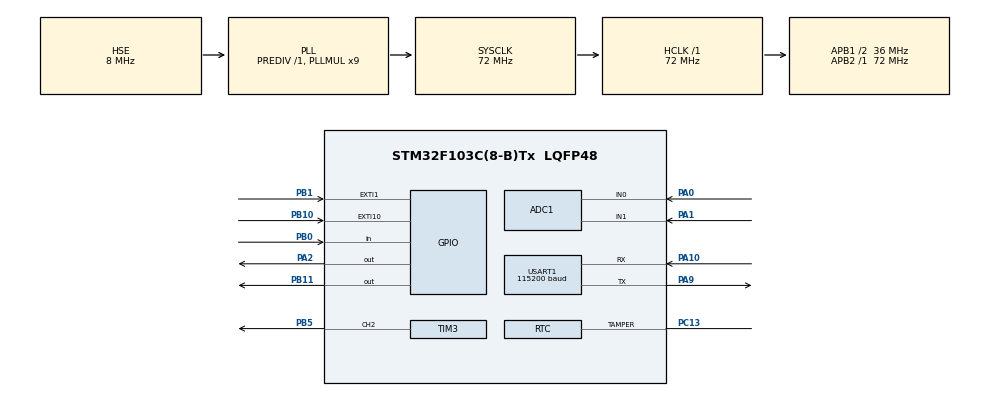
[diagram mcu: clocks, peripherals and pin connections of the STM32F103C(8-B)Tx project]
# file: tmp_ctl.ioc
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ADC1.Channel-2\#ChannelRegularConversion=ADC_CHANNEL_0
ADC1.NbrOfConversionFlag=1
ADC1.Rank-2\#ChannelRegularConversion=1
ADC1.SamplingTime-2\#ChannelRegularConversion=ADC_SAMPLETIME_1CYCLE_5
ADC1.master=1
Dma.Request0=USART1_TX
Dma.Request1=USART1_RX
Dma.USART1_RX.1.Direction=DMA_PERIPH_TO_MEMORY
Dma.USART1_RX.1.Instance=DMA1_Channel5
Dma.USART1_RX.1.MemDataAlignment=DMA_MDATAALIGN_BYTE
Dma.USART1_RX.1.MemInc=DMA_MINC_ENABLE
Dma.USART1_RX.1.Mode=DMA_NORMAL
Dma.USART1_RX.1.PeriphDataAlignment=DMA_PDATAALIGN_BYTE
Dma.USART1_RX.1.PeriphInc=DMA_PINC_DISABLE
Dma.USART1_RX.1.Priority=DMA_PRIORITY_LOW
Dma.USART1_TX.0.Direction=DMA_MEMORY_TO_PERIPH
Dma.USART1_TX.0.Instance=DMA1_Channel4
Dma.USART1_TX.0.MemDataAlignment=DMA_MDATAALIGN_BYTE
Dma.USART1_TX.0.MemInc=DMA_MINC_ENABLE
Dma.USART1_TX.0.Mode=DMA_NORMAL
Dma.USART1_TX.0.PeriphDataAlignment=DMA_PDATAALIGN_BYTE
Dma.USART1_TX.0.PeriphInc=DMA_PINC_DISABLE
Dma.USART1_TX.0.Priority=DMA_PRIORITY_LOW
Mcu.Family=STM32F1
Mcu.Name=STM32F103C(8-B)Tx
Mcu.Package=LQFP48
NVIC.DMA1_Channel4_IRQn=true\:0\:0\:false
NVIC.DMA1_Channel5_IRQn=true\:0\:0\:false
NVIC.PriorityGroup=NVIC_PRIORITYGROUP_4
NVIC.USART1_IRQn=true\:0\:0\:false
PA0-WKUP.Signal=ADCx_IN0
PA1.Signal=ADCx_IN1
PA10.Mode=Asynchronous
PA10.Signal=USART1_RX
PA13.Mode=JTAG_5_pin
PA13.Signal=SYS_JTMS-SWDIO
PA14.Mode=JTAG_5_pin
PA14.Signal=SYS_JTCK-SWCLK
PA15.Mode=JTAG_5_pin
PA15.Signal=SYS_JTDI
PA2.Signal=GPIO_Output
PA9.Mode=Asynchronous
PA9.Signal=USART1_TX
PB0.Signal=GPIO_Input
PB1.Signal=GPXTI1
PB10.Signal=GPXTI10
PB11.Signal=GPIO_Output
PB3.Mode=JTAG_5_pin
PB3.Signal=SYS_JTDO-TRACESWO
PB4.Mode=JTAG_5_pin
PB4.Signal=SYS_NJTRST
PB5.Signal=S_TIM3_CH2
PC13-TAMPER-RTC.Mode=Tamper
PC13-TAMPER-RTC.Signal=RTC_TAMPER
PD0-OSC_IN.Mode=HSE-External-Oscillator
PD0-OSC_IN.Signal=RCC_OSC_IN
PD1-OSC_OUT.Mode=HSE-External-Oscillator
PD1-OSC_OUT.Signal=RCC_OSC_OUT
ProjectManager.HeapSize=0x200
ProjectManager.StackSize=0x400
ProjectManager.TargetToolchain=MDK-ARM V5
RCC.ADCPresc=RCC_ADCPCLK2_DIV8
RCC.AHBFreq_Value=72000000
RCC.APB1CLKDivider=RCC_HCLK_DIV2
RCC.APB1Freq_Value=36000000
RCC.APB1TimFreq_Value=72000000
RCC.APB2Freq_Value=72000000
RCC.APB2TimFreq_Value=72000000
RCC.HCLKFreq_Value=72000000
RCC.HSIState=RCC_HSI_ON
RCC.PLLMUL=RCC_PLL_MUL9
RCC.PLLSourceVirtual=RCC_PLLSOURCE_HSE
RCC.SYSCLKFreq_VALUE=72000000
RCC.SYSCLKSource=RCC_SYSCLKSOURCE_PLLCLK
RCC.TimSys_Div=SYSTICK_CLKSOURCE_HCLK_DIV8
RCC.USBFreq_Value=72000000
SH.ADCx_IN0.0=ADC1_IN0,IN0
SH.ADCx_IN1.0=ADC1_IN1,IN1
SH.S_TIM3_CH2.0=TIM3_CH2,PWM Generation2 CH2
TIM2.Prescaler=71
TIM2.TIM_MasterOutputTrigger=TIM_TRGO_ENABLE
TIM3.Channel-PWM\ Generation2\ CH2=TIM_CHANNEL_2
TIM3.Period=999
TIM3.Prescaler=71
TIM3.Pulse-PWM\ Generation2\ CH2=200
USART1.BaudRate=115200
VP_IWDG_VS_IWDG.Mode=IWDG_Activate
VP_TIM2_VS_ClockSourceINT.Mode=Internal
VP_TIM3_VS_ClockSourceINT.Mode=Internal
board=tmp_ctl

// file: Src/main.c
/**
  ******************************************************************************
  * File Name          : main.c
  * Description        : Main program body
  ******************************************************************************
  *
  * COPYRIGHT(c) 2016 STMicroelectronics
  *
  * Redistribution and use in source and binary forms, with or without modification,
  * are permitted provided that the following conditions are met:
  *   1. Redistributions of source code must retain the above copyright notice,
  *      this list of conditions and the following disclaimer.
  *   2. Redistributions in binary form must reproduce the above copyright notice,
  *      this list of conditions and the following disclaimer in the documentation
  *      and/or other materials provided with the distribution.
  *   3. Neither the name of STMicroelectronics nor the names of its contributors
  *      may be used to endorse or promote products derived from this software
  *      without specific prior written permission.
  *
  * THIS SOFTWARE IS PROVIDED BY THE COPYRIGHT HOLDERS AND CONTRIBUTORS "AS IS"
  * AND ANY EXPRESS OR IMPLIED WARRANTIES, INCLUDING, BUT NOT LIMITED TO, THE
  * IMPLIED WARRANTIES OF MERCHANTABILITY AND FITNESS FOR A PARTICULAR PURPOSE ARE
  * DISCLAIMED. IN NO EVENT SHALL THE COPYRIGHT HOLDER OR CONTRIBUTORS BE LIABLE
  * FOR ANY DIRECT, INDIRECT, INCIDENTAL, SPECIAL, EXEMPLARY, OR CONSEQUENTIAL
  * DAMAGES (INCLUDING, BUT NOT LIMITED TO, PROCUREMENT OF SUBSTITUTE GOODS OR
  * SERVICES; LOSS OF USE, DATA, OR PROFITS; OR BUSINESS INTERRUPTION) HOWEVER
  * CAUSED AND ON ANY THEORY OF LIABILITY, WHETHER IN CONTRACT, STRICT LIABILITY,
  * OR TORT (INCLUDING NEGLIGENCE OR OTHERWISE) ARISING IN ANY WAY OUT OF THE USE
  * OF THIS SOFTWARE, EVEN IF ADVISED OF THE POSSIBILITY OF SUCH DAMAGE.
  *
  ******************************************************************************
  */
#include "stm32f1xx_hal.h"

/* USER CODE BEGIN Includes */
#include "wenyu_tmp_ctl_bsp.h"
#include "tmp_ctl.h"
#include "string.h"
/* USER CODE END Includes */

ADC_HandleTypeDef hadc1;

IWDG_HandleTypeDef hiwdg;

RTC_HandleTypeDef hrtc;

TIM_HandleTypeDef htim2;
TIM_HandleTypeDef htim3;

UART_HandleTypeDef huart1;
DMA_HandleTypeDef hdma_usart1_tx;
DMA_HandleTypeDef hdma_usart1_rx;

/* USER CODE BEGIN PV */
/* Private variables ---------------------------------------------------------*/
uint16_t temp_value;
uint16_t duty_cycle;

uint8_t aTxBuffer[TXBUFFERSIZE];
uint8_t aRxBuffer[RXBUFFERSIZE];

uint8_t Uart1ReadyRead = RESET;
uint8_t Uart1ReadyWrite = SET;

uint8_t Rxbuff[RXBUFFERSIZE * 5];

/* USER CODE END PV */

void SystemClock_Config(void);
static void MX_GPIO_Init(void);
static void MX_DMA_Init(void);
static void MX_ADC1_Init(void);
static void MX_IWDG_Init(void);
static void MX_RTC_Init(void);
static void MX_TIM2_Init(void);
static void MX_TIM3_Init(void);
static void MX_USART1_UART_Init(void);

/* USER CODE BEGIN PFP */
/* Private function prototypes -----------------------------------------------*/
void RxTxProcessing(void);
/* USER CODE END PFP */

int main(void)
{

  /* USER CODE BEGIN 1 */

	uint32_t rxtxtickstart = 0;
  rxtxtickstart = HAL_GetTick();

	uint32_t readtickstart = 0;
  readtickstart = HAL_GetTick();

	uint32_t pidtickstart = 0;
  pidtickstart = HAL_GetTick();

  /* USER CODE END 1 */

  /* MCU Configuration----------------------------------------------------------*/

  /* Reset of all peripherals, Initializes the Flash interface and the Systick. */
  HAL_Init();

  /* Configure the system clock */
  SystemClock_Config();

  /* Initialize all configured peripherals */
  MX_GPIO_Init();
  MX_DMA_Init();
  MX_ADC1_Init();
  MX_IWDG_Init();
  MX_RTC_Init();
  MX_TIM2_Init();
  MX_TIM3_Init();
  MX_USART1_UART_Init();

  /* USER CODE BEGIN 2 */

	weiyu_tmp_ctr.Init();

	HAL_UART_Receive_DMA(&huart1, (uint8_t*)aRxBuffer, RXBUFFERSIZE);
	HAL_IWDG_Start(&hiwdg);

  /* USER CODE END 2 */

  /* Infinite loop */
  while (1)
  {

  /* USER CODE BEGIN 3 */

		if((HAL_GetTick() - rxtxtickstart) > DELAY_200MS)
		{
			rxtxtickstart = HAL_GetTick();
			RxTxProcessing();
		}

		if((HAL_GetTick() - readtickstart) > DELAY_200MS)
		{
			readtickstart = HAL_GetTick();
			weiyu_tmp_ctr.ReadCurrentTemp();
		}

		if((HAL_GetTick() - pidtickstart) > DELAY_200MS)
		{
			pidtickstart = HAL_GetTick();
			duty_cycle = weiyu_tmp_ctr.PID_Algorithm(weiyu_tmp_ctr.GetTemp(),weiyu_tmp_ctr.GetCurrentTemp());
			weiyu_tmp_ctr.PWMOutPut(duty_cycle);
		}

		HAL_IWDG_Refresh(&hiwdg);

  }
  /* USER CODE END 3 */

}

/** System Clock Configuration
*/
void SystemClock_Config(void)
{

  RCC_OscInitTypeDef RCC_OscInitStruct;
  RCC_ClkInitTypeDef RCC_ClkInitStruct;
  RCC_PeriphCLKInitTypeDef PeriphClkInit;

  RCC_OscInitStruct.OscillatorType = RCC_OSCILLATORTYPE_LSI|RCC_OSCILLATORTYPE_HSE;
  RCC_OscInitStruct.HSEState = RCC_HSE_ON;
  RCC_OscInitStruct.HSEPredivValue = RCC_HSE_PREDIV_DIV1;
  RCC_OscInitStruct.LSIState = RCC_LSI_ON;
  RCC_OscInitStruct.PLL.PLLState = RCC_PLL_ON;
  RCC_OscInitStruct.PLL.PLLSource = RCC_PLLSOURCE_HSE;
  RCC_OscInitStruct.PLL.PLLMUL = RCC_PLL_MUL9;
  HAL_RCC_OscConfig(&RCC_OscInitStruct);

  RCC_ClkInitStruct.ClockType = RCC_CLOCKTYPE_SYSCLK|RCC_CLOCKTYPE_PCLK1;
  RCC_ClkInitStruct.SYSCLKSource = RCC_SYSCLKSOURCE_PLLCLK;
  RCC_ClkInitStruct.AHBCLKDivider = RCC_SYSCLK_DIV1;
  RCC_ClkInitStruct.APB1CLKDivider = RCC_HCLK_DIV2;
  RCC_ClkInitStruct.APB2CLKDivider = RCC_HCLK_DIV1;
  HAL_RCC_ClockConfig(&RCC_ClkInitStruct, FLASH_LATENCY_2);

  PeriphClkInit.PeriphClockSelection = RCC_PERIPHCLK_RTC|RCC_PERIPHCLK_ADC;
  PeriphClkInit.RTCClockSelection = RCC_RTCCLKSOURCE_LSI;
  PeriphClkInit.AdcClockSelection = RCC_ADCPCLK2_DIV8;
  HAL_RCCEx_PeriphCLKConfig(&PeriphClkInit);

  HAL_SYSTICK_Config(HAL_RCC_GetHCLKFreq()/8000);

  HAL_SYSTICK_CLKSourceConfig(SYSTICK_CLKSOURCE_HCLK_DIV8);

  /* SysTick_IRQn interrupt configuration */
  HAL_NVIC_SetPriority(SysTick_IRQn, 0, 0);
}

/* ADC1 init function */
void MX_ADC1_Init(void)
{

  ADC_ChannelConfTypeDef sConfig;

    /**Common config
    */
  hadc1.Instance = ADC1;
  hadc1.Init.ScanConvMode = ADC_SCAN_DISABLE;
  hadc1.Init.ContinuousConvMode = DISABLE;
  hadc1.Init.DiscontinuousConvMode = DISABLE;
  hadc1.Init.ExternalTrigConv = ADC_SOFTWARE_START;
  hadc1.Init.DataAlign = ADC_DATAALIGN_RIGHT;
  hadc1.Init.NbrOfConversion = 1;
  HAL_ADC_Init(&hadc1);

    /**Configure Regular Channel
    */
  sConfig.Channel = ADC_CHANNEL_0;
  sConfig.Rank = 1;
  sConfig.SamplingTime = ADC_SAMPLETIME_1CYCLE_5;
  HAL_ADC_ConfigChannel(&hadc1, &sConfig);

}

/* IWDG init function */
void MX_IWDG_Init(void)
{

  hiwdg.Instance = IWDG;
  hiwdg.Init.Prescaler = IWDG_PRESCALER_4;
  hiwdg.Init.Reload = 4095;
  HAL_IWDG_Init(&hiwdg);

}

/* RTC init function */
void MX_RTC_Init(void)
{

  RTC_TimeTypeDef sTime;
  RTC_DateTypeDef DateToUpdate;
  RTC_TamperTypeDef sTamper;

    /**Initialize RTC and set the Time and Date
    */
  hrtc.Instance = RTC;
  hrtc.Init.AsynchPrediv = RTC_AUTO_1_SECOND;
  hrtc.Init.OutPut = RTC_OUTPUTSOURCE_NONE;
  HAL_RTC_Init(&hrtc);

  sTime.Hours = 0x0;
  sTime.Minutes = 0x0;
  sTime.Seconds = 0x0;

  HAL_RTC_SetTime(&hrtc, &sTime, FORMAT_BCD);

  DateToUpdate.WeekDay = RTC_WEEKDAY_MONDAY;
  DateToUpdate.Month = RTC_MONTH_JANUARY;
  DateToUpdate.Date = 0x1;
  DateToUpdate.Year = 0x0;

  HAL_RTC_SetDate(&hrtc, &DateToUpdate, FORMAT_BCD);

    /**Enable the RTC Tamper
    */
  sTamper.Tamper = RTC_TAMPER_1;
  sTamper.Trigger = RTC_TAMPERTRIGGER_LOWLEVEL;
  HAL_RTCEx_SetTamper(&hrtc, &sTamper);

}

/* TIM2 init function */
void MX_TIM2_Init(void)
{

  TIM_ClockConfigTypeDef sClockSourceConfig;
  TIM_MasterConfigTypeDef sMasterConfig;

  htim2.Instance = TIM2;
  htim2.Init.Prescaler = 71;
  htim2.Init.CounterMode = TIM_COUNTERMODE_UP;
  htim2.Init.Period = 0;
  htim2.Init.ClockDivision = TIM_CLOCKDIVISION_DIV1;
  HAL_TIM_Base_Init(&htim2);

  sClockSourceConfig.ClockSource = TIM_CLOCKSOURCE_INTERNAL;
  HAL_TIM_ConfigClockSource(&htim2, &sClockSourceConfig);

  sMasterConfig.MasterOutputTrigger = TIM_TRGO_ENABLE;
  sMasterConfig.MasterSlaveMode = TIM_MASTERSLAVEMODE_DISABLE;
  HAL_TIMEx_MasterConfigSynchronization(&htim2, &sMasterConfig);

}

/* TIM3 init function */
void MX_TIM3_Init(void)
{

  TIM_ClockConfigTypeDef sClockSourceConfig;
  TIM_MasterConfigTypeDef sMasterConfig;
  TIM_OC_InitTypeDef sConfigOC;

  htim3.Instance = TIM3;
  htim3.Init.Prescaler = 71;
  htim3.Init.CounterMode = TIM_COUNTERMODE_UP;
  htim3.Init.Period = 999;
  htim3.Init.ClockDivision = TIM_CLOCKDIVISION_DIV1;
  HAL_TIM_Base_Init(&htim3);

  sClockSourceConfig.ClockSource = TIM_CLOCKSOURCE_INTERNAL;
  HAL_TIM_ConfigClockSource(&htim3, &sClockSourceConfig);

  HAL_TIM_PWM_Init(&htim3);

  sMasterConfig.MasterOutputTrigger = TIM_TRGO_RESET;
  sMasterConfig.MasterSlaveMode = TIM_MASTERSLAVEMODE_DISABLE;
  HAL_TIMEx_MasterConfigSynchronization(&htim3, &sMasterConfig);

  sConfigOC.OCMode = TIM_OCMODE_PWM1;
  sConfigOC.Pulse = 200;
  sConfigOC.OCPolarity = TIM_OCPOLARITY_HIGH;
  sConfigOC.OCFastMode = TIM_OCFAST_DISABLE;
  HAL_TIM_PWM_ConfigChannel(&htim3, &sConfigOC, TIM_CHANNEL_2);

}

/* USART1 init function */
void MX_USART1_UART_Init(void)
{

  huart1.Instance = USART1;
  huart1.Init.BaudRate = 9600;
  huart1.Init.WordLength = UART_WORDLENGTH_8B;
  huart1.Init.StopBits = UART_STOPBITS_1;
  huart1.Init.Parity = UART_PARITY_NONE;
  huart1.Init.Mode = UART_MODE_TX_RX;
  huart1.Init.HwFlowCtl = UART_HWCONTROL_NONE;
  huart1.Init.OverSampling = UART_OVERSAMPLING_16;
  HAL_UART_Init(&huart1);

}

void MX_DMA_Init(void)
{
  /* DMA controller clock enable */
  __HAL_RCC_DMA1_CLK_ENABLE();

  /* DMA interrupt init */
  HAL_NVIC_SetPriority(DMA1_Channel4_IRQn, 0, 0);
  HAL_NVIC_EnableIRQ(DMA1_Channel4_IRQn);
  HAL_NVIC_SetPriority(DMA1_Channel5_IRQn, 0, 0);
  HAL_NVIC_EnableIRQ(DMA1_Channel5_IRQn);

}

/** Configure pins as
        * Analog
        * Input
        * Output
        * EVENT_OUT
        * EXTI
*/
void MX_GPIO_Init(void)
{

  GPIO_InitTypeDef GPIO_InitStruct;

  /* GPIO Ports Clock Enable */
  __GPIOC_CLK_ENABLE();
  __GPIOD_CLK_ENABLE();
  __GPIOA_CLK_ENABLE();
  __GPIOB_CLK_ENABLE();

  /*Configure GPIO pin : PA2 */
  GPIO_InitStruct.Pin = GPIO_PIN_2;
  GPIO_InitStruct.Mode = GPIO_MODE_OUTPUT_PP;
  GPIO_InitStruct.Speed = GPIO_SPEED_LOW;
  HAL_GPIO_Init(GPIOA, &GPIO_InitStruct);

  /*Configure GPIO pin : PB0 */
  GPIO_InitStruct.Pin = GPIO_PIN_0;
  GPIO_InitStruct.Mode = GPIO_MODE_INPUT;
  GPIO_InitStruct.Pull = GPIO_NOPULL;
  HAL_GPIO_Init(GPIOB, &GPIO_InitStruct);

  /*Configure GPIO pins : PB1 PB10 */
  GPIO_InitStruct.Pin = GPIO_PIN_1|GPIO_PIN_10;
  GPIO_InitStruct.Mode = GPIO_MODE_IT_RISING;
  GPIO_InitStruct.Pull = GPIO_NOPULL;
  HAL_GPIO_Init(GPIOB, &GPIO_InitStruct);

  /*Configure GPIO pin : PB11 */
  GPIO_InitStruct.Pin = GPIO_PIN_11;
  GPIO_InitStruct.Mode = GPIO_MODE_OUTPUT_PP;
  GPIO_InitStruct.Speed = GPIO_SPEED_LOW;
  HAL_GPIO_Init(GPIOB, &GPIO_InitStruct);

}

/* USER CODE BEGIN 4 */

void RxTxProcessing(void)
{
	uint8_t result_crc;

	if(Uart1ReadyRead == SET)
	{
		Uart1ReadyWrite = RESET;
		RxRead((uint8_t*)&weiyu_tmp_ctr.aRxBuffer, sizeof(CustomProtocol_TypeDef));
		Uart1ReadyWrite = SET;
	}

	if(weiyu_tmp_ctr.aRxBuffer.start_flag == 0xff && weiyu_tmp_ctr.aRxBuffer.end_flag == 0xff)
	{
		result_crc = weiyu_tmp_ctr.getCrc8((uint8_t *)&weiyu_tmp_ctr.aRxBuffer.cmd);
		if(weiyu_tmp_ctr.aRxBuffer.crc == result_crc)
		{
			switch(weiyu_tmp_ctr.aRxBuffer.cmd)
			{
				case CMD_SET_BUZZER:
					weiyu_tmp_ctr.SetBuzzer(weiyu_tmp_ctr.aRxBuffer.data);
					memcpy((uint8_t*)&weiyu_tmp_ctr.aTxBuffer,(uint8_t*)&weiyu_tmp_ctr.aRxBuffer,sizeof(CustomProtocol_TypeDef));
					HAL_UART_Transmit_DMA(&huart1, (uint8_t*)&weiyu_tmp_ctr.aTxBuffer, sizeof(CustomProtocol_TypeDef));
					break;
				case CMD_SET_TEMP:
					weiyu_tmp_ctr.SetTemp(weiyu_tmp_ctr.aRxBuffer.data);
					memcpy((uint8_t*)&weiyu_tmp_ctr.aTxBuffer,(uint8_t*)&weiyu_tmp_ctr.aRxBuffer,sizeof(CustomProtocol_TypeDef));
					HAL_UART_Transmit_DMA(&huart1, (uint8_t*)&weiyu_tmp_ctr.aTxBuffer, sizeof(CustomProtocol_TypeDef));
					break;
				case CMD_GET_TEMP:
					temp_value = weiyu_tmp_ctr.GetCurrentTemp();
					memcpy((uint8_t*)&weiyu_tmp_ctr.aTxBuffer,(uint8_t*)&weiyu_tmp_ctr.aRxBuffer,sizeof(CustomProtocol_TypeDef));
					weiyu_tmp_ctr.aTxBuffer.data = temp_value;
					weiyu_tmp_ctr.aTxBuffer.crc = weiyu_tmp_ctr.getCrc8((uint8_t *)&weiyu_tmp_ctr.aTxBuffer.cmd);
					memcpy((uint8_t*)&weiyu_tmp_ctr.aTxBuffer,(uint8_t*)&weiyu_tmp_ctr.aRxBuffer,sizeof(CustomProtocol_TypeDef));
					HAL_UART_Transmit_DMA(&huart1, (uint8_t*)&weiyu_tmp_ctr.aTxBuffer, sizeof(CustomProtocol_TypeDef));
					break;
				case CMD_SWITCH_HART:
					weiyu_tmp_ctr.SwitchOnOff(weiyu_tmp_ctr.aRxBuffer.data);
					memcpy((uint8_t*)&weiyu_tmp_ctr.aTxBuffer,(uint8_t*)&weiyu_tmp_ctr.aRxBuffer,sizeof(CustomProtocol_TypeDef));
					HAL_UART_Transmit_DMA(&huart1, (uint8_t*)&weiyu_tmp_ctr.aTxBuffer, sizeof(CustomProtocol_TypeDef));
					break;
				case CMD_GET_CHANNEL:
					break;
				case CMD_SET_TIMER:
					break;
				case CMD_GET_TIMER:
					break;
				default:
					break;
			}
		}
	}
	memset((uint8_t*)&weiyu_tmp_ctr.aRxBuffer,0, sizeof(CustomProtocol_TypeDef));
}

/* USER CODE END 4 */

/************************ (C) COPYRIGHT STMicroelectronics *****END OF FILE****/
